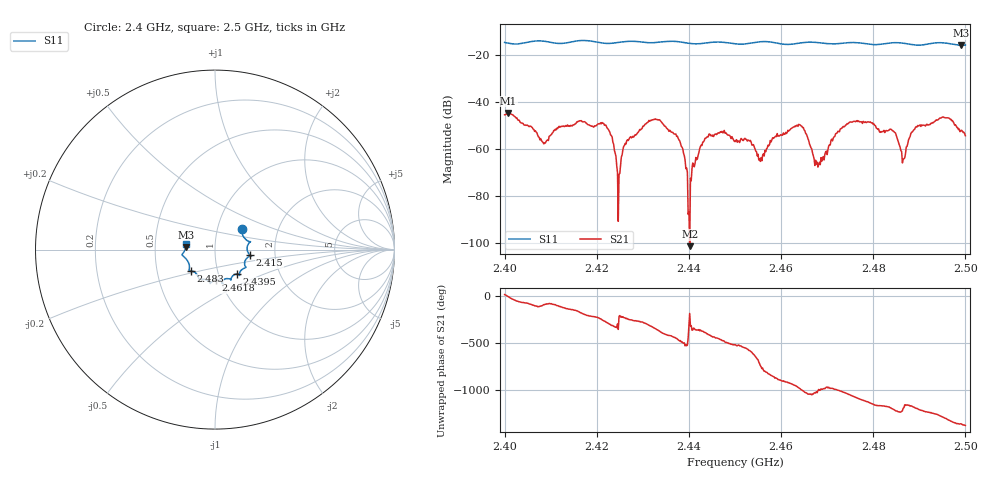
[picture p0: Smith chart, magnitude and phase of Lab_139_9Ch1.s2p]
# Hz S RI R 50
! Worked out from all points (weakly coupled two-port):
!   601 points, 2.4 GHz to 2.5 GHz, reference 50 ohm
!   highest |S21| = -44.56 dB at 2.4008 GHz (marker M1); lowest = -101.3 dB at 2.4402 GHz (marker M2)
!   lowest |S11| = -15.7 dB at 2.499 GHz (marker M3), VSWR 1.39, Z = 36 + j1.12 ohm
!   |S11| at or under -10 dB: start of sweep to end of sweep
!   S12 and S22 are empty: the file has one direction only
!   S11 on the Smith chart (normalised r, x): 2.4 GHz: 1.31, +0.31; 2.415 GHz: 1.48, -0.10; 2.4395 GHz: 1.23, -0.34; 2.4618 GHz: 0.95, -0.34; 2.483 GHz: 0.74, -0.18; 2.5 GHz: 0.72, +0.05
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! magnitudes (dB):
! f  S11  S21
! 2.4 GHz  -14.5  -45.3
! 2.4008 GHz  -14.8  -44.6
! 2.4085 GHz  -14.0  -57.7
! 2.415 GHz  -14.1  -49.6
! 2.4167 GHz  -13.7  -47.8
! 2.4223 GHz  -14.9  -51.2
! 2.4248 GHz  -14.5  -70.8
! 2.4267 GHz  -14.1  -56.0
! 2.4333 GHz  -14.4  -47.6
! 2.4395 GHz  -14.7  -67.9
! 2.4402 GHz  -14.9  -101.3
! 2.444 GHz  -14.7  -54.7
! 2.45 GHz  -15.1  -56.8
! 2.4557 GHz  -14.2  -63.6
! 2.4618 GHz  -15.3  -51.9
! 2.4667 GHz  -14.4  -60.0
! 2.483 GHz  -14.9  -52.2
! 2.4833 GHz  -14.8  -52.0
! 2.4865 GHz  -14.8  -64.2
! 2.4897 GHz  -15.7  -49.9
! 2.499 GHz  -15.7  -52.2
! 2.5 GHz  -15.6  -54.2
